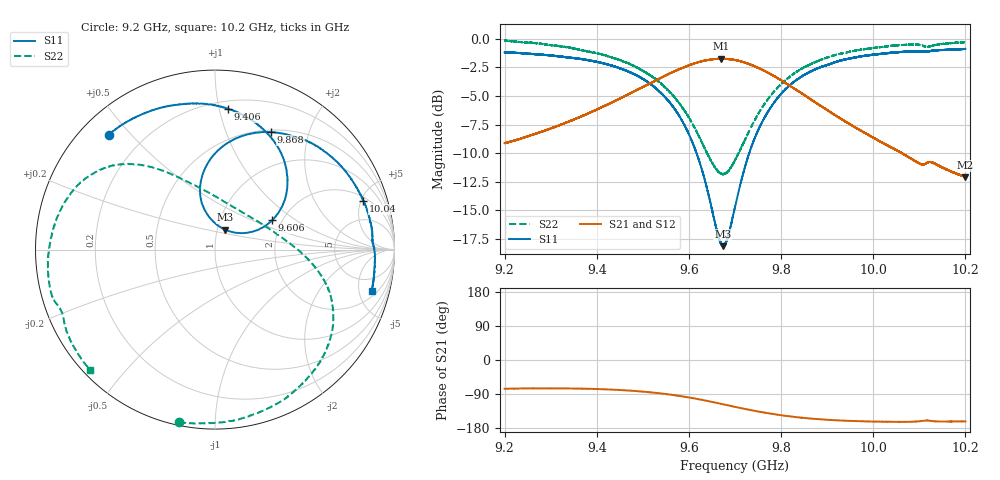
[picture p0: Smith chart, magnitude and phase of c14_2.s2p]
!Agilent Technologies,N5242A,MY51221714,A.09.90.19
!Agilent N5242A: A.09.90.19
!Date: Tuesday, March 26, 2024 15:46:33
!Correction: S11(Full 2 Port(1,2))
!S21(Full 2 Port(1,2))
!S12(Full 2 Port(1,2))
!S22(Full 2 Port(1,2))
!S2P File: Measurements: S11, S21, S12, S22:
# Hz S  dB  R 50
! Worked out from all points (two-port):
!   16001 points, 9.2 GHz to 10.2 GHz, reference 50 ohm
!   highest |S21| = -1.73 dB at 9.671 GHz (marker M1); lowest = -12.1 dB at 10.2 GHz (marker M2)
!   |S21| within 3 dB of the highest: 9.474027 GHz to 9.474475 GHz (447.5 kHz wide, 0.00472 % of centre); 9.475 GHz to 9.844 GHz (369 MHz wide, 3.82 % of centre)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
!   lowest |S11| = -18.1 dB at 9.673 GHz (marker M3), VSWR 1.28, Z = 54.6 + j12.2 ohm
!   |S11| at or under -10 dB: 9.616414 GHz to 9.616488 GHz (74.75 kHz wide, 0.000777 % of centre); 9.617 GHz to 9.731 GHz (114.1 MHz wide, 1.18 % of centre); 9.730911 GHz to 9.730947 GHz (36.52 kHz wide, 0.000375 % of centre)
!   |S22| runs from -11.9 to -0.1 dB; largest |S21 - S12| = 0.0099
!   S11 on the Smith chart (normalised r, x): 9.2 GHz: 0.08, +0.44; 9.406 GHz: 0.26, +1.06; 9.606 GHz: 1.78, +0.67; 9.868 GHz: 0.52, +1.45; 10.04 GHz: 2.36, +5.23; 10.2 GHz: 2.71, -6.71
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9.2e9  -1.18 132.7  -9.13 -75.9  -9.11 -76.7  -0.16 -101.7
9.278562e9  -1.39 115.5  -8.14 -74.9  -8.14 -75.5  -0.43 -80.3
9.366688e9  -1.78 94.7  -6.79 -75.7  -6.78 -76.3  -0.99 -57.4
9.40575e9  -2.08 84.8  -6.08 -76.8  -6.07 -77.5  -1.33 -47.5
9.469438e9  -2.88 67.3  -4.84 -80.6  -4.83 -81.2  -2.16 -32.5
9.533375e9  -4.52 48.0  -3.54 -87.4  -3.53 -88.0  -3.69 -17.7
9.606375e9  -8.91 27.2  -2.23 -100.3  -2.22 -100.8  -7.32 3.4
9.639438e9  -13.11 26.0  -1.87 -108.0  -1.86 -108.5  -10.02 22.9
9.670688e9  -17.96 57.4  -1.73 -115.9  -1.73 -116.4  -11.80 55.1
9.673375e9  -18.13 62.7  -1.74 -116.7  -1.74 -117.1  -11.81 58.6
9.7e9  -14.72 100.0  -1.86 -123.6  -1.85 -124.1  -10.60 88.8
9.73125e9  -9.96 105.1  -2.23 -131.6  -2.21 -132.1  -8.03 110.6
9.765312e9  -6.80 96.9  -2.83 -139.0  -2.82 -139.7  -5.61 123.3
9.816562e9  -4.13 80.7  -4.04 -148.4  -4.05 -148.9  -3.39 135.2
9.866688e9  -2.81 64.8  -5.36 -154.7  -5.36 -155.3  -2.16 145.2
9.867625e9  -2.77 64.5  -5.37 -154.9  -5.37 -155.4  -2.15 145.5
9.937812e9  -1.82 44.7  -7.20 -160.1  -7.19 -160.5  -1.22 160.1
1.003338e10  -1.25 20.8  -9.38 -162.9  -9.37 -163.5  -0.65 -178.2
1.004488e10  -1.22 18.2  -9.63 -163.1  -9.63 -163.6  -0.59 -175.5
1.009706e10  -1.10 6.3  -10.85 -162.1  -10.83 -162.5  -0.52 -163.4
1.019975e10  -0.90 -14.6  -12.09 -162.0  -12.07 -162.4  -0.30 -136.0
1.02e10  -0.88 -14.6  -12.08 -161.9  -12.09 -162.4  -0.30 -136.0
